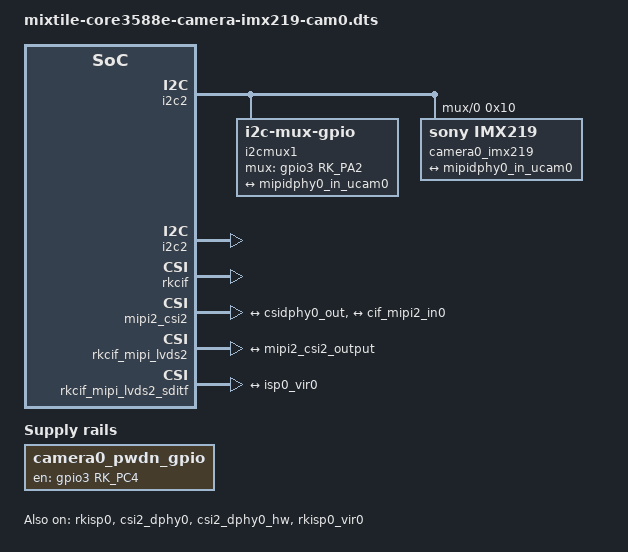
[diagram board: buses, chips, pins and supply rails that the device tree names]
/dts-v1/;
/plugin/;

#include <dt-bindings/clock/rk3588-cru.h>
#include <dt-bindings/power/rk3588-power.h>
#include <dt-bindings/gpio/gpio.h>
#include <dt-bindings/pinctrl/rockchip.h>

/ {
	metadata {
		title = "Enable IMX219 camera on CAM0";
		compatible = "mixtile,core3588e";
		category = "camera";
		exclusive = "csi2_dphy0";
		description = "Enable a Sony IMX219 camera module on CAM0.";
	};

	fragment@0 {
		target-path = "/";
		__overlay__ {
			camera0_pwdn_gpio: camera0-pwdn-gpio {
				status = "okay";
				compatible = "regulator-fixed";
				regulator-name = "camera0_pwdn_gpio";
				regulator-always-on;
				regulator-boot-on;
				enable-active-high;
				gpio = <&gpio3 RK_PC4 GPIO_ACTIVE_HIGH>;
			};

			i2cmux1:i2cmux1 {
				compatible = "i2c-mux-gpio";
				#address-cells = <1>;
				#size-cells = <0>;
				i2c-parent = <&i2c2>;
				mux-gpios = <&gpio3 RK_PA2 GPIO_ACTIVE_HIGH>;

				i2c_cam0: i2c@0 {
					reg = <0>;
					#address-cells = <1>;
					#size-cells = <0>;
				};
			};
		};
	};

	fragment@1 {
		target = <&i2c2>;
		__overlay__ {
			status = "okay";
			pinctrl-names = "default";
			pinctrl-0 = <&i2c2m4_xfer>;
		};
	};

	fragment@2 {
		target = <&i2cmux1>;
		__overlay__ {
			status = "okay";
		};
	};

	fragment@3 {
		target = <&rkcif>;
		__overlay__ {
			status = "okay";
		};
	};

	fragment@4 {
		target = <&rkcif_mmu>;
		__overlay__ {
			status = "okay";
		};
	};

	fragment@5 {
		target = <&rkisp0>;
		__overlay__ {
			status = "okay";
		};
	};

	fragment@6 {
		target = <&isp0_mmu>;
		__overlay__ {
			status = "okay";
		};
	};

	fragment@7 {
		target = <&i2c_cam0>;
		__overlay__ {
			camera0_imx219: camera0-imx219@10 {
				status = "okay";
				compatible = "sony,imx219";
				reg = <0x10>;
				clocks = <&cru CLK_MIPI_CAMARAOUT_M0>;
				clock-names = "xvclk";
				pinctrl-names = "default";
				pinctrl-0 = <&mipim1_camera0_clk>;
				power-domains = <&power RK3588_PD_VI>;
				rockchip,camera-module-index = <0>;
				rockchip,camera-module-facing = "back";
				rockchip,camera-module-name = "rpi-camera-v2";
				rockchip,camera-module-lens-name = "default";

				port {
					imx219_out0: endpoint {
						remote-endpoint = <&mipidphy0_in_ucam0>;
						data-lanes = <1 2>;
						link-frequencies = /bits/ 64 <456000000>;
					};
				};
			};
		};
	};

	fragment@8 {
		target = <&csi2_dphy0>;
		__overlay__ {
			status = "okay";

			ports {
				#address-cells = <1>;
				#size-cells = <0>;
				port@0 {
					reg = <0>;
					#address-cells = <1>;
					#size-cells = <0>;

					mipidphy0_in_ucam0: endpoint@1 {
						reg = <1>;
						remote-endpoint = <&imx219_out0>;
						data-lanes = <1 2>;
					};
				};
				port@1 {
					reg = <1>;
					#address-cells = <1>;
					#size-cells = <0>;

					csidphy0_out: endpoint@0 {
						reg = <0>;
						remote-endpoint = <&mipi2_csi2_input>;
					};
				};
			};
		};
	};

	fragment@9 {
		target = <&csi2_dphy0_hw>;
		__overlay__ {
			status = "okay";
		};
	};

	fragment@10 {
		target = <&mipi2_csi2>;
		__overlay__ {
			status = "okay";

			ports {
				#address-cells = <1>;
				#size-cells = <0>;

				port@0 {
					reg = <0>;
					#address-cells = <1>;
					#size-cells = <0>;

					mipi2_csi2_input: endpoint@1 {
						reg = <1>;
						remote-endpoint = <&csidphy0_out>;
					};
				};

				port@1 {
					reg = <1>;
					#address-cells = <1>;
					#size-cells = <0>;

					mipi2_csi2_output: endpoint@0 {
						reg = <0>;
						remote-endpoint = <&cif_mipi2_in0>;
					};
				};
			};
		};
	};

	fragment@11 {
		target = <&rkcif_mipi_lvds2>;
		__overlay__ {
			status = "okay";

			port {
				cif_mipi2_in0: endpoint {
					remote-endpoint = <&mipi2_csi2_output>;
				};
			};
		};
	};

	fragment@12 {
		target = <&rkcif_mipi_lvds2_sditf>;
		__overlay__ {
			status = "okay";

			port {
				mipi_lvds2_sditf: endpoint {
					remote-endpoint = <&isp0_vir0>;
				};
			};
		};
	};

	fragment@13 {
		target = <&rkisp0_vir0>;
		__overlay__ {
			status = "okay";

			port {
				#address-cells = <1>;
				#size-cells = <0>;

				isp0_vir0: endpoint@0 {
					reg = <0>;
					remote-endpoint = <&mipi_lvds2_sditf>;
				};
			};
		};
	};
};
